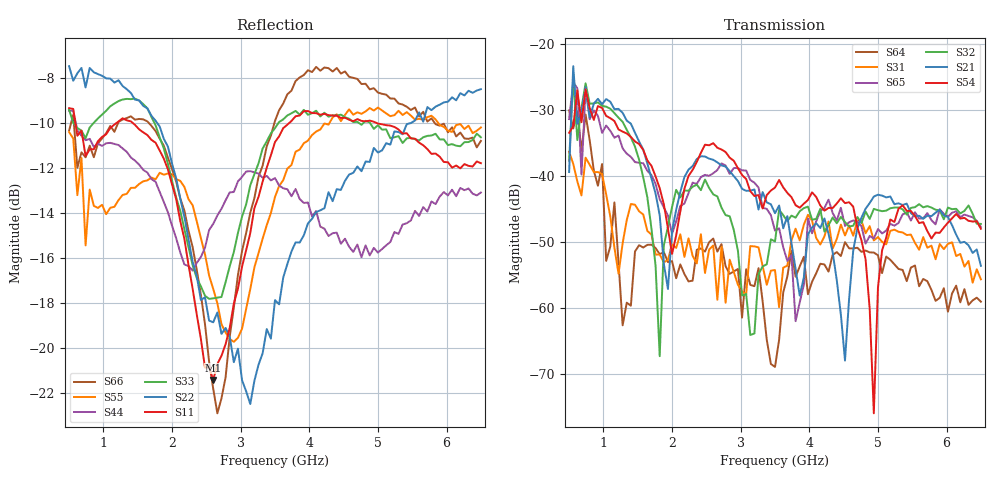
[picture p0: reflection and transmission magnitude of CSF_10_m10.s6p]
!Keysight Technologies,M9804A,MY58100912,A.14.10.03
!Date: Thursday, April 27, 2023 10:28:33
!Correction: S11(C  6-Port  )
!S12(C  6-Port  )
!S13(C  6-Port  )
!S14(C  6-Port  )
!S15(C  6-Port  )
!S16(C  6-Port  )
!S21(C  6-Port  )
!S22(C  6-Port  )
!S23(C  6-Port  )
!S24(C  6-Port  )
!S25(C  6-Port  )
!S26(C  6-Port  )
!S31(C  6-Port  )
!S32(C  6-Port  )
!S33(C  6-Port  )
!S34(C  6-Port  )
!S35(C  6-Port  )
!S36(C  6-Port  )
!S41(C  6-Port  )
!S42(C  6-Port  )
!S43(C  6-Port  )
!S44(C  6-Port  )
!S45(C  6-Port  )
!S46(C  6-Port  )
!S51(C  6-Port  )
!S52(C  6-Port  )
!S53(C  6-Port  )
!S54(C  6-Port  )
!S55(C  6-Port  )
!S56(C  6-Port  )
!S61(C  6-Port  )
!S62(C  6-Port  )
!S63(C  6-Port  )
!S64(C  6-Port  )
!S65(C  6-Port  )
!S66(C  6-Port  )
!S6P File: Measurement: :
# Hz S  RI  R 50
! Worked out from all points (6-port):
!   101 points, 500 MHz to 6.5 GHz, reference 50 ohm
!   strongest paths, dB at 500 MHz, 2 GHz, 3.5 GHz, 5 GHz, 6.5 GHz:
!     S54: -33.5, -51.8, -41.8, -57.0, -48.0
!     S21: -39.4, -48.3, -45.6, -42.8, -53.6
!     S32: -37.7, -44.7, -49.9, -45.2, -47.3
!     S65: -31.4, -48.8, -48.3, -48.0, -47.7
!     S31: -36.3, -50.4, -54.2, -49.3, -55.7
!     S64: -30.1, -52.9, -68.9, -52.0, -59.0
!   lowest |S11| = -21.4 dB at 2.6 GHz (marker M1), VSWR 1.19, Z = 42.5 + j2.17 ohm
!   |S11| at or under -10 dB: 590.6 MHz to 1.197 GHz (606.9 MHz wide, 67.9 % of centre); 1.421 GHz to 3.713 GHz (2.292 GHz wide, 89.3 % of centre); 4.968 GHz to end of sweep
